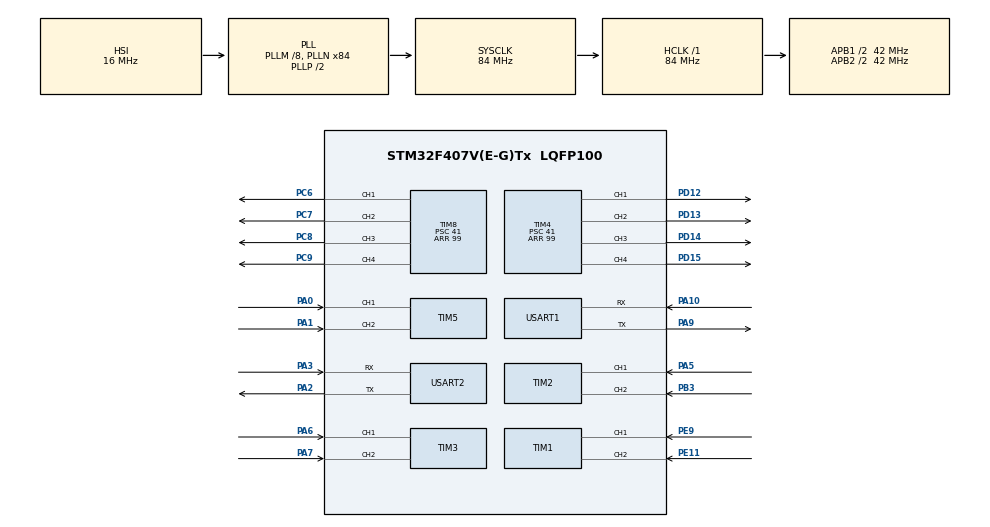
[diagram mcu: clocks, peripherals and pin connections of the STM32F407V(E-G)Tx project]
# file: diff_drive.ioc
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Mcu.Family=STM32F4
Mcu.Name=STM32F407V(E-G)Tx
Mcu.Package=LQFP100
NVIC.PriorityGroup=NVIC_PRIORITYGROUP_4
NVIC.TIM4_IRQn=true\:0\:0\:false\:false\:true\:true\:true\:true
NVIC.TIM6_DAC_IRQn=true\:0\:0\:false\:false\:true\:true\:true\:true
NVIC.USART1_IRQn=true\:0\:0\:false\:false\:true\:true\:true\:true
PA0-WKUP.Signal=S_TIM5_CH1
PA1.Signal=S_TIM5_CH2
PA10.Mode=Asynchronous
PA10.Signal=USART1_RX
PA13.Mode=Serial_Wire
PA13.Signal=SYS_JTMS-SWDIO
PA14.Mode=Serial_Wire
PA14.Signal=SYS_JTCK-SWCLK
PA2.Mode=Asynchronous
PA2.Signal=USART2_TX
PA3.Mode=Asynchronous
PA3.Signal=USART2_RX
PA5.Signal=S_TIM2_CH1_ETR
PA6.Signal=S_TIM3_CH1
PA7.Signal=S_TIM3_CH2
PA9.Mode=Asynchronous
PA9.Signal=USART1_TX
PB3.Signal=S_TIM2_CH2
PC6.Signal=S_TIM8_CH1
PC7.Signal=S_TIM8_CH2
PC8.Signal=S_TIM8_CH3
PC9.Signal=S_TIM8_CH4
PD12.Signal=S_TIM4_CH1
PD13.Signal=S_TIM4_CH2
PD14.Signal=S_TIM4_CH3
PD15.Signal=S_TIM4_CH4
PE11.Signal=S_TIM1_CH2
PE9.Signal=S_TIM1_CH1
PH0-OSC_IN.Mode=HSE-External-Oscillator
PH0-OSC_IN.Signal=RCC_OSC_IN
PH1-OSC_OUT.Mode=HSE-External-Oscillator
PH1-OSC_OUT.Signal=RCC_OSC_OUT
ProjectManager.HeapSize=0x200
ProjectManager.StackSize=0x400
ProjectManager.TargetToolchain=STM32CubeIDE
RCC.48MHZClocksFreq_Value=42000000
RCC.AHBFreq_Value=84000000
RCC.APB1CLKDivider=RCC_HCLK_DIV2
RCC.APB1Freq_Value=42000000
RCC.APB1TimFreq_Value=84000000
RCC.APB2CLKDivider=RCC_HCLK_DIV2
RCC.APB2Freq_Value=42000000
RCC.APB2TimFreq_Value=84000000
RCC.CortexFreq_Value=84000000
RCC.HCLKFreq_Value=84000000
RCC.HSE_VALUE=8000000
RCC.HSI_VALUE=16000000
RCC.LSE_VALUE=32768
RCC.PLLM=8
RCC.PLLN=84
RCC.SYSCLKFreq_VALUE=84000000
RCC.SYSCLKSource=RCC_SYSCLKSOURCE_PLLCLK
RCC.VCOOutputFreq_Value=168000000
SH.S_TIM1_CH1.0=TIM1_CH1,Encoder_Interface
SH.S_TIM1_CH2.0=TIM1_CH2,Encoder_Interface
SH.S_TIM2_CH1_ETR.0=TIM2_CH1,Encoder_Interface
SH.S_TIM2_CH2.0=TIM2_CH2,Encoder_Interface
SH.S_TIM3_CH1.0=TIM3_CH1,Encoder_Interface
SH.S_TIM3_CH2.0=TIM3_CH2,Encoder_Interface
SH.S_TIM4_CH1.0=TIM4_CH1,PWM Generation1 CH1
SH.S_TIM4_CH2.0=TIM4_CH2,PWM Generation2 CH2
SH.S_TIM4_CH3.0=TIM4_CH3,PWM Generation3 CH3
SH.S_TIM4_CH4.0=TIM4_CH4,PWM Generation4 CH4
SH.S_TIM5_CH1.0=TIM5_CH1,Encoder_Interface
SH.S_TIM5_CH2.0=TIM5_CH2,Encoder_Interface
SH.S_TIM8_CH1.0=TIM8_CH1,PWM Generation1 CH1
SH.S_TIM8_CH2.0=TIM8_CH2,PWM Generation2 CH2
SH.S_TIM8_CH3.0=TIM8_CH3,PWM Generation3 CH3
SH.S_TIM8_CH4.0=TIM8_CH4,PWM Generation4 CH4
TIM1.EncoderMode=TIM_ENCODERMODE_TI12
TIM2.EncoderMode=TIM_ENCODERMODE_TI12
TIM3.EncoderMode=TIM_ENCODERMODE_TI12
TIM4.Channel-PWM\ Generation1\ CH1=TIM_CHANNEL_1
TIM4.Channel-PWM\ Generation2\ CH2=TIM_CHANNEL_2
TIM4.Channel-PWM\ Generation3\ CH3=TIM_CHANNEL_3
TIM4.Channel-PWM\ Generation4\ CH4=TIM_CHANNEL_4
TIM4.Period=99
TIM4.Prescaler=41
TIM5.EncoderMode=TIM_ENCODERMODE_TI12
TIM6.Period=99
TIM6.Prescaler=16799
TIM8.Channel-PWM\ Generation1\ CH1=TIM_CHANNEL_1
TIM8.Channel-PWM\ Generation2\ CH2=TIM_CHANNEL_2
TIM8.Channel-PWM\ Generation3\ CH3=TIM_CHANNEL_3
TIM8.Channel-PWM\ Generation4\ CH4=TIM_CHANNEL_4
TIM8.Period=99
TIM8.Prescaler=41
USART1.VirtualMode=VM_ASYNC
USART2.VirtualMode=VM_ASYNC
VP_TIM6_VS_ClockSourceINT.Mode=Enable_Timer
board=custom

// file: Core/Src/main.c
/* USER CODE BEGIN Header */
/**
  ******************************************************************************
  * @file           : main.c
  * @brief          : Main program body
  ******************************************************************************
  * @attention
  *
  * Copyright (c) 2024 STMicroelectronics.
  * All rights reserved.
  *
  * This software is licensed under terms that can be found in the LICENSE file
  * in the root directory of this software component.
  * If no LICENSE file comes with this software, it is provided AS-IS.
  *
  ******************************************************************************
  */
/* USER CODE END Header */
#include "main.h"
#include "tim.h"
#include "usart.h"
#include "gpio.h"

/* USER CODE BEGIN Includes */
#include "stdio.h"
#include <../CPP/Inc/user_define.h>
/* USER CODE END Includes */

void SystemClock_Config(void);

/* USER CODE BEGIN 0 */
#if defined(__GNUC__)
int _write(int fd, char * ptr, int len) {
  HAL_UART_Transmit( &huart1, (uint8_t * ) ptr, len, HAL_MAX_DELAY);
  return len;
}
#elif defined(__ICCARM__)#include "LowLevelIOInterface.h"

size_t __write(int handle,
  const unsigned char * buffer, size_t size) {
  HAL_UART_Transmit( & huart1, (uint8_t * ) buffer, size, HAL_MAX_DELAY);
  return size;
}
#elif defined(__CC_ARM)
int fputc(int ch, FILE * f) {
  HAL_UART_Transmit( & huart1, (uint8_t * ) & ch, 1, HAL_MAX_DELAY);
  return ch;
}
#endif

void user_init()
{
	HAL_TIM_Base_Start_IT(&INTERUPT_TIMER);

	HAL_TIM_PWM_Start(&PWM_TIMER, TIM_CHANNEL_1);
	HAL_TIM_PWM_Start(&PWM_TIMER, TIM_CHANNEL_2);
	HAL_TIM_PWM_Start(&PWM_TIMER, TIM_CHANNEL_3);
	HAL_TIM_PWM_Start(&PWM_TIMER, TIM_CHANNEL_4);

	HAL_TIM_Encoder_Start(&ECODER_TIMER1, TIM_CHANNEL_1);
	HAL_TIM_Encoder_Start(&ECODER_TIMER1, TIM_CHANNEL_2);
	HAL_TIM_Encoder_Start(&ECODER_TIMER2, TIM_CHANNEL_1);
    HAL_TIM_Encoder_Start(&ECODER_TIMER2, TIM_CHANNEL_2);

	HAL_UART_Receive_IT(&UART_COM, &urx, 1);
}

/* USER CODE END 0 */

int main(void)
{

  /* MCU Configuration--------------------------------------------------------*/

  /* Reset of all peripherals, Initializes the Flash interface and the Systick. */
  HAL_Init();

  /* Configure the system clock */
  SystemClock_Config();

  /* Initialize all configured peripherals */
  MX_GPIO_Init();
  MX_TIM1_Init();
  MX_TIM2_Init();
  MX_TIM3_Init();
  MX_TIM4_Init();
  MX_USART2_UART_Init();
  MX_TIM5_Init();
  MX_TIM6_Init();
  MX_TIM8_Init();
  MX_USART1_UART_Init();
  /* USER CODE BEGIN 2 */
  user_init();
  /* USER CODE END 2 */

  /* Infinite loop */
  while (1)
  {

    /* USER CODE BEGIN 3 */
	  CppMain();
  }
  /* USER CODE END 3 */
}

void SystemClock_Config(void)
{
  RCC_OscInitTypeDef RCC_OscInitStruct = {0};
  RCC_ClkInitTypeDef RCC_ClkInitStruct = {0};

  /** Configure the main internal regulator output voltage
  */
  __HAL_RCC_PWR_CLK_ENABLE();
  __HAL_PWR_VOLTAGESCALING_CONFIG(PWR_REGULATOR_VOLTAGE_SCALE1);

  /** Initializes the RCC Oscillators according to the specified parameters
  * in the RCC_OscInitTypeDef structure.
  */
  RCC_OscInitStruct.OscillatorType = RCC_OSCILLATORTYPE_HSI;
  RCC_OscInitStruct.HSIState = RCC_HSI_ON;
  RCC_OscInitStruct.HSICalibrationValue = RCC_HSICALIBRATION_DEFAULT;
  RCC_OscInitStruct.PLL.PLLState = RCC_PLL_ON;
  RCC_OscInitStruct.PLL.PLLSource = RCC_PLLSOURCE_HSI;
  RCC_OscInitStruct.PLL.PLLM = 8;
  RCC_OscInitStruct.PLL.PLLN = 84;
  RCC_OscInitStruct.PLL.PLLP = RCC_PLLP_DIV2;
  RCC_OscInitStruct.PLL.PLLQ = 4;
  if (HAL_RCC_OscConfig(&RCC_OscInitStruct) != HAL_OK)
  {
    Error_Handler();
  }

  /** Initializes the CPU, AHB and APB buses clocks
  */
  RCC_ClkInitStruct.ClockType = RCC_CLOCKTYPE_HCLK|RCC_CLOCKTYPE_SYSCLK
                              |RCC_CLOCKTYPE_PCLK1|RCC_CLOCKTYPE_PCLK2;
  RCC_ClkInitStruct.SYSCLKSource = RCC_SYSCLKSOURCE_PLLCLK;
  RCC_ClkInitStruct.AHBCLKDivider = RCC_SYSCLK_DIV1;
  RCC_ClkInitStruct.APB1CLKDivider = RCC_HCLK_DIV2;
  RCC_ClkInitStruct.APB2CLKDivider = RCC_HCLK_DIV2;

  if (HAL_RCC_ClockConfig(&RCC_ClkInitStruct, FLASH_LATENCY_2) != HAL_OK)
  {
    Error_Handler();
  }
}

void Error_Handler(void)
{
  __disable_irq();
  while (1)
  {
  }
}
